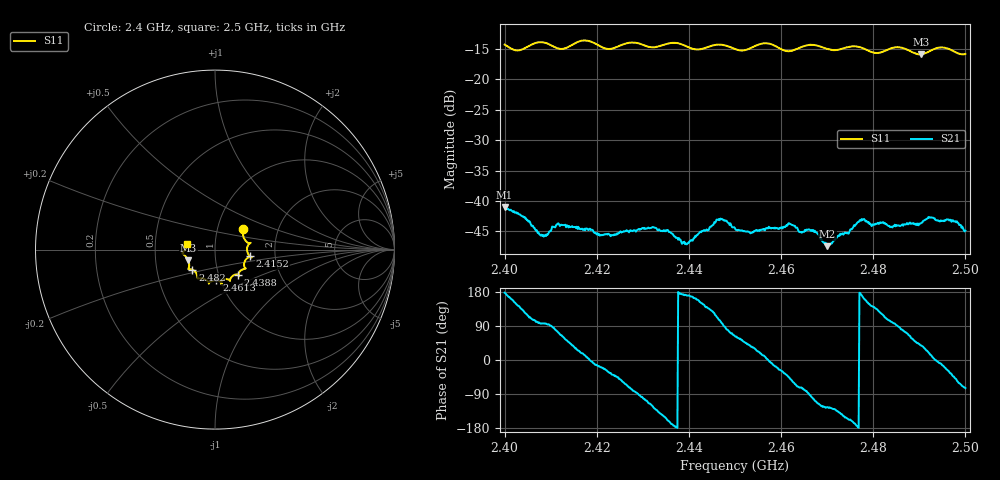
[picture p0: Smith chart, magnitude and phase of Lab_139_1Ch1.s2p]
# Hz S RI R 50
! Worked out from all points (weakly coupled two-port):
!   601 points, 2.4 GHz to 2.5 GHz, reference 50 ohm
!   highest |S21| = -40.98 dB at 2.4 GHz (marker M1); lowest = -47.4 dB at 2.47 GHz (marker M2)
!   lowest |S11| = -15.9 dB at 2.4903 GHz (marker M3), VSWR 1.38, Z = 36.8 - j4.45 ohm
!   |S11| at or under -10 dB: start of sweep to end of sweep
!   S12 and S22 are empty: the file has one direction only
!   S11 on the Smith chart (normalised r, x): 2.4 GHz: 1.33, +0.31; 2.4152 GHz: 1.48, -0.11; 2.4388 GHz: 1.24, -0.36; 2.4613 GHz: 0.96, -0.34; 2.482 GHz: 0.76, -0.17; 2.5 GHz: 0.72, +0.05
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2.4e9  0.1577 0.1122  -0.00892 0.000372  0 0  0 0
2.402833e9  0.1604 0.0652  -0.00646 0.00472  0 0  0 0
2.408167e9  0.1989 0.0378  -0.000607 0.00513  0 0  0 0
2.411667e9  0.1795 0.0112  0.00203 0.00622  0 0  0 0
2.415167e9  0.1941 -0.0371  0.0051 0.00337  0 0  0 0
2.416667e9  0.2037 -0.0438  0.00562 0.00183  0 0  0 0
2.4225e9  0.1656 -0.0656  0.0046 -0.00279  0 0  0 0
2.4275e9  0.1715 -0.1053  0.00132 -0.00553  0 0  0 0
2.433333e9  0.1327 -0.1313  -0.00417 -0.00394  0 0  0 0
2.438833e9  0.1299 -0.1411  -0.00451 0.000548  0 0  0 0
2.4465e9  0.0838 -0.1747  -0.00196 0.00684  0 0  0 0
2.45e9  0.0683 -0.1645  0.00274 0.0053  0 0  0 0
2.456833e9  0.0383 -0.1948  0.00598 0.000362  0 0  0 0
2.461333e9  0.00787 -0.1709  0.00473 -0.0041  0 0  0 0
2.466667e9  -0.0342 -0.1898  -0.000826 -0.0057  0 0  0 0
2.47e9  -0.043 -0.1732  -0.0024 -0.00351  0 0  0 0
2.4775e9  -0.0973 -0.1541  -0.007 0.00119  0 0  0 0
2.482e9  -0.1262 -0.1119  -0.00335 0.00576  0 0  0 0
2.483333e9  -0.1398 -0.1089  -0.00161 0.00602  0 0  0 0
2.490333e9  -0.1495 -0.059  0.00512 0.00409  0 0  0 0
2.496333e9  -0.1781 -0.0152  0.00616 -0.00338  0 0  0 0
2.5e9  -0.1586 0.0329  0.00155 -0.0055  0 0  0 0
